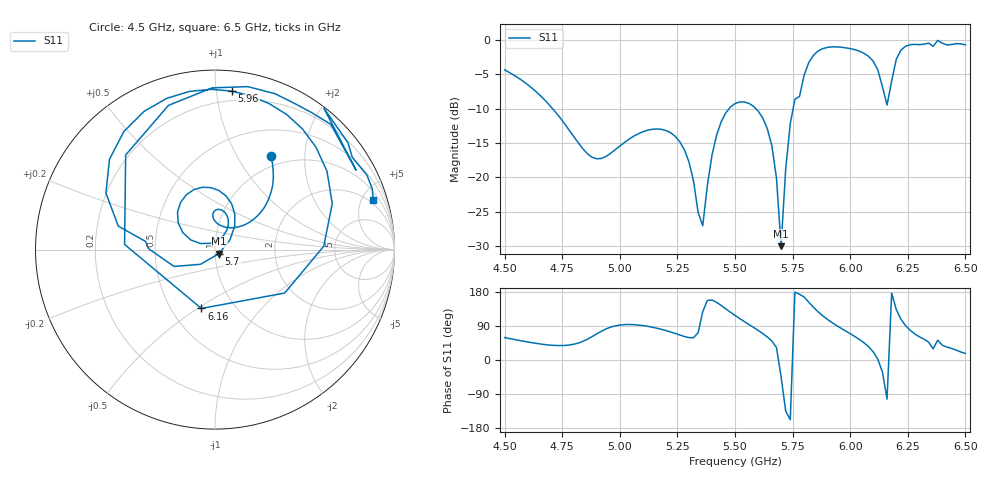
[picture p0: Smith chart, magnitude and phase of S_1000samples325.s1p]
! TOUCHSTONE file generated by CST MICROWAVE STUDIO
! Date and time: Thu Oct 27 19:03:57 2022
! Project name: L.cst
! Parameters = {Di=1.27; Epsilon_r=1.56; InnerDiameter=1.27; Length=2; Lf=10; Lg=60; OuterConductorThickness=0.2921; OuterDiameter=3.6; Wf=3; Wp=41.2; de=1.5; df=6.8; g=0.8; gx=1.85625; gy=2.89035; h=2.34; hf=1.524; px=14.4014; py=8.39839; w=9.7; wx=12.5452; wy=5.50803}
! Header version: 2018
! Port assignment regex: !\s*Touchstone port\s*([0-9]+)\s*=\s*(CST MWS port|CST DS port)\s*([0-9]+|Zmin|Zmax)\s*\(\"(.*)\"\)(\s*mode\s*([0-9]+))?.*
! Touchstone port assignment:
! Touchstone port 1 = CST MWS port 1 ("")
# GHz S DB R 50
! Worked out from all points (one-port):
!   101 points, 4.5 GHz to 6.5 GHz, reference 50 ohm
!   lowest |S11| = -30.0 dB at 5.7 GHz (marker M1), VSWR 1.07, Z = 52.3 - j2.3 ohm
!   |S11| at or under -10 dB: 4.709 GHz to 5.474 GHz (765.7 MHz wide, 15 % of centre); 5.591 GHz to 5.752 GHz (161.2 MHz wide, 2.84 % of centre)
!   S11 on the Smith chart (normalised r, x): 4.5 GHz: 0.84, +1.40; 5.7 GHz: 1.05, -0.05; 5.96 GHz: 0.13, +1.11; 6.16 GHz: 0.70, -0.52; 6.5 GHz: 1.60, +6.11
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4.5  -4.33 59.2
4.76  -12.17 38.3
4.88  -17.08 61.9
5  -15.44 92.2
5.26  -14.79 66.1
5.36  -27.05 127.8
5.42  -13.86 152.2
5.5  -9.25 117.7
5.64  -12.88 60.9
5.68  -20.09 33.0
5.7  -30.02 -44.1
5.72  -18.80 -134.5
5.76  -8.62 179.2
5.84  -2.23 139.5
5.9  -1.07 107.7
5.96  -1.03 83.8
6  -1.24 69.5
6.1  -3.07 21.4
6.14  -6.79 -31.9
6.16  -9.46 -103.0
6.18  -5.94 176.7
6.2  -2.79 133.4
6.22  -1.47 107.9
6.26  -0.67 78.6
6.34  -0.44 47.3
6.36  -0.89 29.4
6.38  -0.05 52.4
6.5  -0.68 17.4
